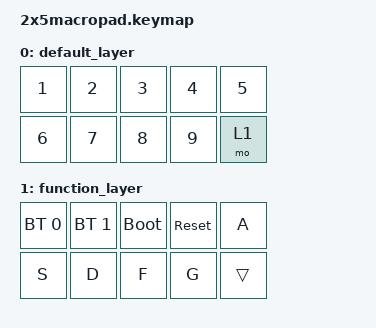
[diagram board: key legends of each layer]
#include <behaviors.dtsi>
#include <dt-bindings/zmk/keys.h>
#include <dt-bindings/zmk/bt.h>

/ {
    keymap {
        compatible = "zmk,keymap";

        default_layer {
            bindings = <
                &kp N1    &kp N2    &kp N3    &kp N4    &kp N5
                &kp N6    &kp N7    &kp N8    &kp N9    &mo 1
            >;
        };

        function_layer {
            bindings = <
                &bt BT_SEL 0  &bt BT_SEL 1  &bootloader   &sys_reset  &kp A
                &kp S         &kp D         &kp F         &kp G       &trans
            >;
        };
    };
};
